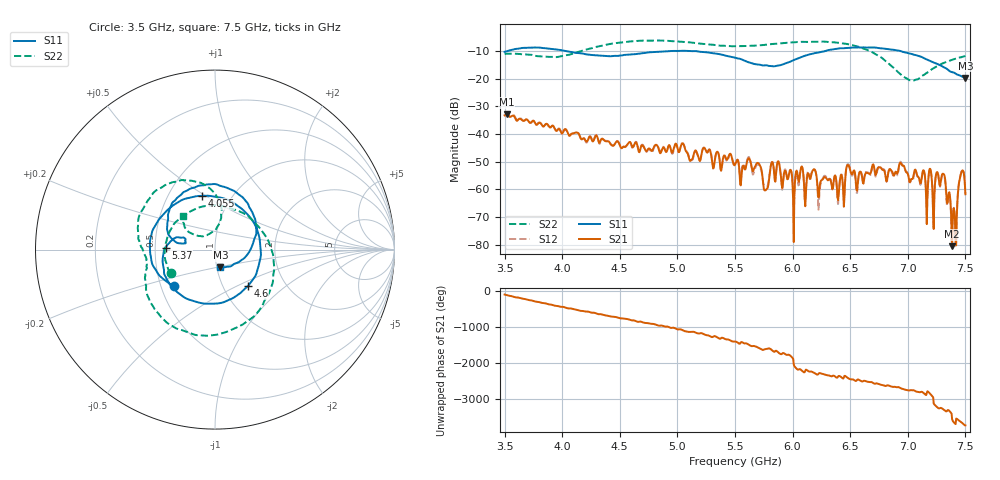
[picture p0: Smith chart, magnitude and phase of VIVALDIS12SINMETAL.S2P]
!Agilent Technologies,E5071B,MY42403545,A.09.10
!Date: Thu Jul 11 05:33:54 2019
!Data & Calibration Information:
!Freq	S11:SOLT2(ON)	S21:SOLT2(ON)	S12:SOLT2(ON)	S22:SOLT2(ON)
# Hz S dB R 50
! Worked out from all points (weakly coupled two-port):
!   801 points, 3.5 GHz to 7.5 GHz, reference 50 ohm
!   highest |S21| = -32.94 dB at 3.52 GHz (marker M1); lowest = -80.5 dB at 7.385 GHz (marker M2)
!   lowest |S11| = -19.7 dB at 7.5 GHz (marker M3), VSWR 1.23, Z = 52.1 - j10.4 ohm
!   |S11| at or under -10 dB: 4.029 GHz to 4.954 GHz (925 MHz wide, 20.6 % of centre); 5.095 GHz to 6.286 GHz (1.192 GHz wide, 20.9 % of centre); 6.935 GHz to end of sweep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
!   |S22| runs from -20.7 to -6.2 dB; largest |S21 - S12| = 0.00094
!   S11 on the Smith chart (normalised r, x): 3.5 GHz: 0.59, -0.26; 4.055 GHz: 0.73, +0.48; 4.6 GHz: 1.30, -0.57; 5.37 GHz: 0.57, +0.01; 7.5 GHz: 1.04, -0.21
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3.5e9  -10.31 -138.0  -33.25 -104.4  -33.55 -104.0  -11.11 -151.8
3.52e9  -10.06 -142.1  -32.94 -121.1  -33.20 -119.3  -10.99 -156.4
4.055e9  -10.23 103.9  -40.21 -129.3  -40.12 -129.1  -11.42 33.1
4.17e9  -10.88 73.9  -41.95 161.4  -41.84 162.2  -9.96 -1.4
4.6e9  -11.26 -48.1  -43.76 -100.8  -44.06 -102.4  -6.52 -87.4
4.835e9  -10.30 -98.9  -45.06 113.4  -44.87 117.5  -6.23 -118.8
5.37e9  -11.19 178.0  -50.80 107.0  -50.86 106.2  -8.09 -164.6
5.5e9  -12.46 165.0  -51.08 30.0  -50.75 30.4  -8.27 -170.7
5.705e9  -14.92 159.8  -50.58 -146.1  -51.19 -143.0  -7.97 -178.8
5.765e9  -15.15 163.3  -60.34 -179.9  -58.87 -179.0  -7.75 178.3
5.82e9  -15.48 166.7  -50.13 152.0  -50.11 151.6  -7.48 174.6
6.01e9  -13.28 169.7  -79.02 118.8  -71.98 141.1  -6.86 160.6
6.17e9  -11.03 159.6  -53.57 -93.2  -53.13 -101.8  -6.70 146.6
6.235e9  -10.49 152.8  -58.97 -126.2  -60.40 -116.9  -6.64 139.6
6.48e9  -8.92 122.7  -51.18 95.5  -50.84 93.8  -7.56 112.9
6.835e9  -9.33 70.6  -53.19 -113.3  -53.17 -113.3  -14.59 79.3
7.04e9  -11.17 35.2  -56.25 114.9  -56.81 111.8  -20.72 116.5
7.305e9  -15.70 -19.1  -54.31 -47.1  -54.66 -46.0  -14.45 145.3
7.385e9  -17.65 -40.5  -80.50 26.1  -77.66 8.6  -13.18 141.3
7.405e9  -17.92 -47.6  -67.99 -77.8  -67.96 -78.1  -12.94 140.2
7.465e9  -19.12 -63.1  -53.88 -54.2  -53.61 -56.5  -12.25 136.4
7.5e9  -19.73 -72.8  -61.74 -142.9  -61.53 -145.4  -11.83 133.5
